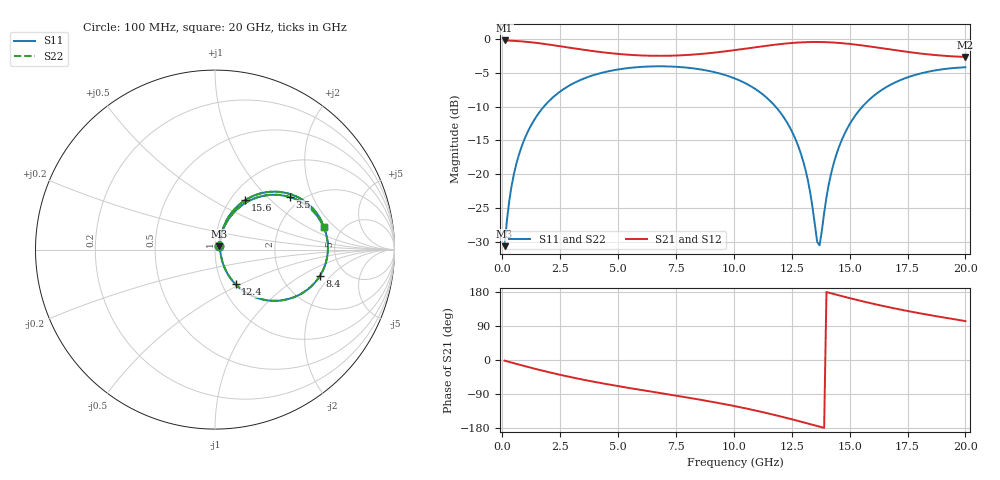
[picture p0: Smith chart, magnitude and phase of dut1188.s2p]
! Touchstone file exported from HFSS 2026.1.0
!  File:  C:/ffzhzh/LocalFiles/Ansys_Project_Files/temp_train_TSV_RDL_1188_1783316726_38820.aedt
!  Generated:  01:55:26 PM Jul  6, 2026
!  Design:  TSV_RDL
!  Project:  temp_train_TSV_RDL_1188_1783316726_38820
! Variables:
!  h_bsmrdl = 3.36um
!  h_ox = 20um
!  h_rdl = 5um
!  h_sub = 80.37um
!  h_tmrdl = 5.12um
!  h_tsv = 80.37um
!  h_via = 3um
!  l_bsmrdl = 511.79um
!  l_sub = 4294.15um
!  l_tmrdl = 565.26um
!  m_sub = 200um
!  pitch = 55.59um
!  r_tsv = 8.8um
!  s_tmrdl = 10um
!  w_bsmrdl = 19.69um
!  w_sub = 500um
!  w_tmrdl = 12.89um
!  x_tsv_center1 = 571.705um
!  x_tsv_center2 = 1103.185um
!  x_tsv_center3 = 1681.335um
!  x_tsv_center4 = 2212.815um
!  x_tsv_center5 = 2790.965um
!  x_tsv_center6 = 3322.445um
# GHz S MA R 50.000000
! Terminal data exported
! Port[1] = TM_RDL1_1_T1
! Port[2] = TM_RDL5_1_T1
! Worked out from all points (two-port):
!   200 points, 100 MHz to 20 GHz, reference 50 ohm
!   highest |S21| = -0.19 dB at 100 MHz (marker M1); lowest = -2.6 dB at 20 GHz (marker M2)
!   |S21| within 3 dB of the highest: start of sweep to end of sweep
!   lowest |S11| = -30.7 dB at 100 MHz (marker M3), VSWR 1.06, Z = 52.2 + j2.02 ohm
!   |S11| at or under -10 dB: start of sweep to 1.795 GHz; 11.8 GHz to 15.55 GHz (3.75 GHz wide, 27.4 % of centre)
!   |S22| runs from -30.7 to -4.0 dB; largest |S21 - S12| = 1.7e-14
!   S11 on the Smith chart (normalised r, x): 100 MHz: 1.04, +0.04; 3.5 GHz: 1.74, +1.37; 8.4 GHz: 3.29, -1.51; 12.4 GHz: 1.16, -0.47; 15.6 GHz: 1.17, +0.72; 20 GHz: 3.63, +1.46
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0.1  0.02925 41.4  0.9785 -1.7  0.9785 -1.7  0.02925 41.4
! Gamma 0 0 0 0
! Port Impedance 50 0 50 0
0.3  0.06326 64.1  0.9759 -5.1  0.9759 -5.1  0.06326 64.1
0.5  0.09976 67.9  0.9719 -8.5  0.9719 -8.5  0.09976 67.9
1.1  0.2059 64.8  0.954 -18.3  0.954 -18.3  0.2059 64.8
2.1  0.3591 52.4  0.9078 -33.5  0.9078 -33.5  0.3591 52.4
3.5  0.5089 35.2  0.8352 -52.0  0.8352 -52.0  0.5089 35.2
5.1  0.6002 18.0  0.7749 -69.9  0.7749 -69.9  0.6002 18.0
6.8  0.6295 1.5  0.7528 -87.1  0.7528 -87.1  0.6295 1.5
8.4  0.6029 -14.0  0.7726 -103.2  0.7726 -103.2  0.6029 -14.0
10.1  0.5069 -32.1  0.8325 -122.5  0.8325 -122.5  0.507 -32.0
11.4  0.3709 -47.6  0.8935 -139.7  0.8935 -139.7  0.3709 -47.6
12.4  0.2248 -59.3  0.934 -154.8  0.934 -154.8  0.2248 -59.3
13  0.1238 -62.5  0.9489 -164.4  0.9489 -164.4  0.1239 -62.4
13.4  0.05649 -51.5  0.9531 -170.9  0.9531 -170.9  0.05659 -51.4
13.6  0.03141 -18.2  0.9534 -174.2  0.9534 -174.2  0.03159 -18.0
13.7  0.02967 14.9  0.9531 -175.8  0.9531 -175.8  0.02987 14.8
14.1  0.0839 66.2  0.9486 177.6  0.9486 177.6  0.08398 66.0
14.4  0.135 69.2  0.9422 172.8  0.9422 172.8  0.1351 69.2
14.9  0.2181 66.3  0.9263 164.9  0.9263 164.9  0.2182 66.3
15.6  0.3231 58.6  0.8962 154.3  0.8962 154.3  0.3231 58.5
16.7  0.4532 45.4  0.8418 139.2  0.8418 139.2  0.4532 45.4
20  0.6196 11.5  0.7393 102.7  0.7393 102.7  0.6196 11.5
